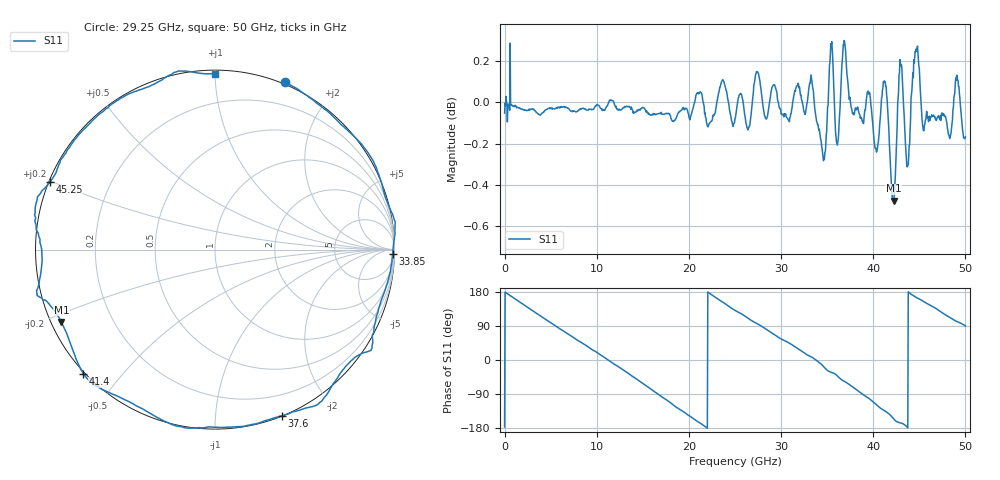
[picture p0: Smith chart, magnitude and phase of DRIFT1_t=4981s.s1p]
!Created with skrf (http://scikit-rf.org).
# Hz S RI R 50.0
!freq ReS11 ImS11
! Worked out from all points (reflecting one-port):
!   1001 points, 300 kHz to 50 GHz, reference 50 ohm
!   lowest |S11| = -0.5 dB at 42.2 GHz (marker M1), VSWR 36.38, Z = 1.44 - j11.2 ohm
!   phase of S11 starts at -177 deg and turns -813 deg over the sweep
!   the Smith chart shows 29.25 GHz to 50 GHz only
!   S11 on the Smith chart (normalised r, x): 29.25 GHz: -0.02, +1.50; 33.85 GHz: 32, -71; 37.6 GHz: 0.00, -1.48; 41.4 GHz: -0.01, -0.40; 45.25 GHz: 0.00, +0.20; 50 GHz: 0.02, +1.00
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300000  -0.9925 -0.0559
1.60029e9  -0.893 0.4433
3.35028e9  -0.5705 0.8152
6.250262e9  0.1988 0.9773
9.500243e9  0.8877 0.4518
1.115023e10  0.9979 0.0244
1.250022e10  0.9343 -0.3447
1.425021e10  0.6517 -0.7514
1.580021e10  0.2481 -0.9614
1.73502e10  -0.2037 -0.9724
1.875019e10  -0.5899 -0.7989
2.160017e10  -0.9909 -0.1244
2.345016e10  -0.926 0.4032
2.500015e10  -0.648 0.7495
2.730014e10  -0.1269 1.008
2.925012e10  0.3877 0.9324
3.125011e10  0.7769 0.6291
3.38501e10  0.9894 -0.0231
3.520009e10  0.878 -0.5077
3.750008e10  0.3992 -0.9181
3.760007e10  0.3716 -0.9255
3.950006e10  -0.1871 -0.9871
4.140005e10  -0.7326 -0.6937
4.220005e10  -0.8562 -0.4035
4.375004e10  -0.9656 -0.0179
4.525003e10  -0.9215 0.3748
4.770001e10  -0.5179 0.8469
5e10  -0.00133 0.9809
